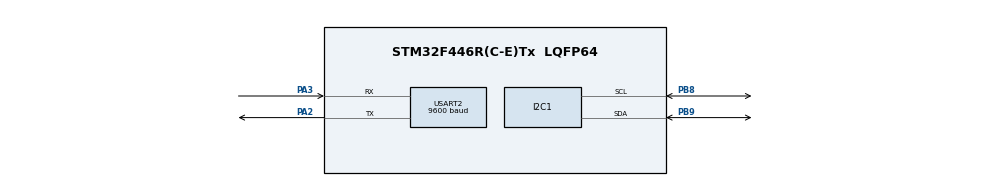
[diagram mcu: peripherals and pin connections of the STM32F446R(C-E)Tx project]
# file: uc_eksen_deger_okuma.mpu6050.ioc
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Mcu.Family=STM32F4
Mcu.Name=STM32F446R(C-E)Tx
Mcu.Package=LQFP64
NVIC.PriorityGroup=NVIC_PRIORITYGROUP_4
PA13.Mode=Serial_Wire
PA13.Signal=SYS_JTMS-SWDIO
PA14.Mode=Serial_Wire
PA14.Signal=SYS_JTCK-SWCLK
PA2.Mode=Asynchronous
PA2.Signal=USART2_TX
PA3.Mode=Asynchronous
PA3.Signal=USART2_RX
PB8.Mode=I2C
PB8.Signal=I2C1_SCL
PB9.Mode=I2C
PB9.Signal=I2C1_SDA
PH0-OSC_IN.Mode=HSE-External-Oscillator
PH0-OSC_IN.Signal=RCC_OSC_IN
PH1-OSC_OUT.Mode=HSE-External-Oscillator
PH1-OSC_OUT.Signal=RCC_OSC_OUT
ProjectManager.HeapSize=0x200
ProjectManager.StackSize=0x400
ProjectManager.TargetToolchain=STM32CubeIDE
RCC.CortexFreq_Value=16000000
RCC.USBFreq_Value=96000000
RCC.VCOOutputFreq_Value=192000000
USART2.BaudRate=9600
USART2.VirtualMode=VM_ASYNC
board=custom

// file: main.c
/* USER CODE BEGIN Header */
/**
  ******************************************************************************
  * @file           : main.c
  * @brief          : Main program body
  ******************************************************************************
  * @attention
  *
  * Copyright (c) 2023 STMicroelectronics.
  * All rights reserved.
  *
  * This software is licensed under terms that can be found in the LICENSE file
  * in the root directory of this software component.
  * If no LICENSE file comes with this software, it is provided AS-IS.
  *
  ******************************************************************************
  */
/* USER CODE END Header */
#include "main.h"

/* USER CODE BEGIN Includes */
#include "mpu6050.h"
#include "math.h"
#include "stdio.h"
#include "string.h"
/* USER CODE END Includes */

/* USER CODE BEGIN PD */
#define PI 3.14159265359
/* USER CODE END PD */

 I2C_HandleTypeDef hi2c1;

UART_HandleTypeDef huart2;

void SystemClock_Config(void);
static void MX_GPIO_Init(void);
static void MX_I2C1_Init(void);
static void MX_USART2_UART_Init(void);
/* USER CODE BEGIN PFP */
void MPU6050_Offset(void);
/* USER CODE END PFP */

/* USER CODE BEGIN 0 */
char buffer[50];

float Ax, Ay, Az;
float Gx, Gy, Gz;

float AccelRoll, AccelPitch;
float GyroRoll, GyroPitch, GyroYaw;
float Roll, Pitch, Yaw;

float AccelRollError, AccelPitchError;
float GyroRollError, GyroPitchError, GyroYawError;

float elapsedTime, currentTime, previousTime;
/* USER CODE END 0 */

int main(void)
{

  /* MCU Configuration--------------------------------------------------------*/

  /* Reset of all peripherals, Initializes the Flash interface and the Systick. */
  HAL_Init();

  /* Configure the system clock */
  SystemClock_Config();

  /* Initialize all configured peripherals */
  MX_GPIO_Init();
  MX_I2C1_Init();
  MX_USART2_UART_Init();
  /* USER CODE BEGIN 2 */
  MPU6050_ScanAdress();
  MPU6050_Init();
  MPU6050_Offset();
  /* USER CODE END 2 */

  /* Infinite loop */
  while (1)
  {

    /* USER CODE BEGIN 3 */
	  //Accel
	  MPU6050_AccelRead();

	  AccelRoll = (atan(Ay / sqrt(pow(Ax, 2) + pow(Az, 2))) * 180 / PI) - AccelRollError;
	  AccelPitch = (atan(-1 * Ax / sqrt(pow(Ay, 2) + pow(Az, 2))) * 180 / PI) - AccelPitchError;

	  //Gyro
	  previousTime = currentTime;
	  currentTime = HAL_GetTick();
	  elapsedTime = (currentTime - previousTime) / 1000;

	  MPU6050_GyroRead();

	  Gx = Gx - GyroRollError;
	  Gy = Gy - GyroPitchError;
	  Gz = Gz - GyroYawError;

	  GyroRoll = GyroRoll + Gx * elapsedTime;
	  GyroPitch = GyroPitch + Gy * elapsedTime;
	  GyroYaw =  GyroYaw + Gz * elapsedTime;

	  //Roll, Pitch, Yaw
	  Roll = 0.96 * GyroRoll + 0.04 * AccelRoll;
	  Pitch = 0.96 * GyroPitch + 0.04 * AccelPitch;
	  Yaw = GyroYaw;

	  sprintf(buffer,"%.2f*%.2f*%.2f\n", Roll, Pitch, Yaw);
	  HAL_UART_Transmit(&huart2, (uint8_t *)buffer, strlen(buffer), 100);
	  HAL_Delay(1000);
  }
  /* USER CODE END 3 */
}

void SystemClock_Config(void)
{
  RCC_OscInitTypeDef RCC_OscInitStruct = {0};
  RCC_ClkInitTypeDef RCC_ClkInitStruct = {0};

  /** Configure the main internal regulator output voltage
  */
  __HAL_RCC_PWR_CLK_ENABLE();
  __HAL_PWR_VOLTAGESCALING_CONFIG(PWR_REGULATOR_VOLTAGE_SCALE3);

  /** Initializes the RCC Oscillators according to the specified parameters
  * in the RCC_OscInitTypeDef structure.
  */
  RCC_OscInitStruct.OscillatorType = RCC_OSCILLATORTYPE_HSI;
  RCC_OscInitStruct.HSIState = RCC_HSI_ON;
  RCC_OscInitStruct.HSICalibrationValue = RCC_HSICALIBRATION_DEFAULT;
  RCC_OscInitStruct.PLL.PLLState = RCC_PLL_NONE;
  if (HAL_RCC_OscConfig(&RCC_OscInitStruct) != HAL_OK)
  {
    Error_Handler();
  }

  /** Initializes the CPU, AHB and APB buses clocks
  */
  RCC_ClkInitStruct.ClockType = RCC_CLOCKTYPE_HCLK|RCC_CLOCKTYPE_SYSCLK
                              |RCC_CLOCKTYPE_PCLK1|RCC_CLOCKTYPE_PCLK2;
  RCC_ClkInitStruct.SYSCLKSource = RCC_SYSCLKSOURCE_HSI;
  RCC_ClkInitStruct.AHBCLKDivider = RCC_SYSCLK_DIV1;
  RCC_ClkInitStruct.APB1CLKDivider = RCC_HCLK_DIV1;
  RCC_ClkInitStruct.APB2CLKDivider = RCC_HCLK_DIV1;

  if (HAL_RCC_ClockConfig(&RCC_ClkInitStruct, FLASH_LATENCY_0) != HAL_OK)
  {
    Error_Handler();
  }
}

static void MX_I2C1_Init(void)
{

  hi2c1.Instance = I2C1;
  hi2c1.Init.ClockSpeed = 100000;
  hi2c1.Init.DutyCycle = I2C_DUTYCYCLE_2;
  hi2c1.Init.OwnAddress1 = 0;
  hi2c1.Init.AddressingMode = I2C_ADDRESSINGMODE_7BIT;
  hi2c1.Init.DualAddressMode = I2C_DUALADDRESS_DISABLE;
  hi2c1.Init.OwnAddress2 = 0;
  hi2c1.Init.GeneralCallMode = I2C_GENERALCALL_DISABLE;
  hi2c1.Init.NoStretchMode = I2C_NOSTRETCH_DISABLE;
  if (HAL_I2C_Init(&hi2c1) != HAL_OK)
  {
    Error_Handler();
  }

}

static void MX_USART2_UART_Init(void)
{

  huart2.Instance = USART2;
  huart2.Init.BaudRate = 9600;
  huart2.Init.WordLength = UART_WORDLENGTH_8B;
  huart2.Init.StopBits = UART_STOPBITS_1;
  huart2.Init.Parity = UART_PARITY_NONE;
  huart2.Init.Mode = UART_MODE_TX_RX;
  huart2.Init.HwFlowCtl = UART_HWCONTROL_NONE;
  huart2.Init.OverSampling = UART_OVERSAMPLING_16;
  if (HAL_UART_Init(&huart2) != HAL_OK)
  {
    Error_Handler();
  }

}

static void MX_GPIO_Init(void)
{

  /* GPIO Ports Clock Enable */
  __HAL_RCC_GPIOH_CLK_ENABLE();
  __HAL_RCC_GPIOA_CLK_ENABLE();
  __HAL_RCC_GPIOB_CLK_ENABLE();

}

/* USER CODE BEGIN 4 */
void MPU6050_Offset(void)
{
	int c = 0;

	//Accel
	while(c < 2000){
		MPU6050_AccelRead();
		AccelRollError = AccelRollError + (atan(Ay / sqrt(pow(Ax, 2) + pow(Az, 2))) * 180 / PI);
		AccelPitchError = AccelPitchError + (atan(-1 * Ax / sqrt(pow(Ay, 2) + pow(Az, 2))) * 180 / PI);
		c++;
	}
	HAL_Delay(3);
	AccelRollError = AccelRollError / 2000;
	AccelPitchError = AccelPitchError / 2000;
	c = 0;

	//Gyro
	while(c < 2000){
		MPU6050_GyroRead();
		GyroRollError = GyroRollError + Gx;
		GyroPitchError = GyroPitchError + Gy ;
		GyroYawError =  GyroYawError + Gz;
		c++;
	}
	HAL_Delay(3);
	GyroRollError = GyroRollError / 2000;
	GyroPitchError = GyroPitchError / 2000;
	GyroYawError =  GyroYawError / 2000;
	HAL_Delay(100);
}
/* USER CODE END 4 */

void Error_Handler(void)
{
  __disable_irq();
  while (1)
  {
  }
}
